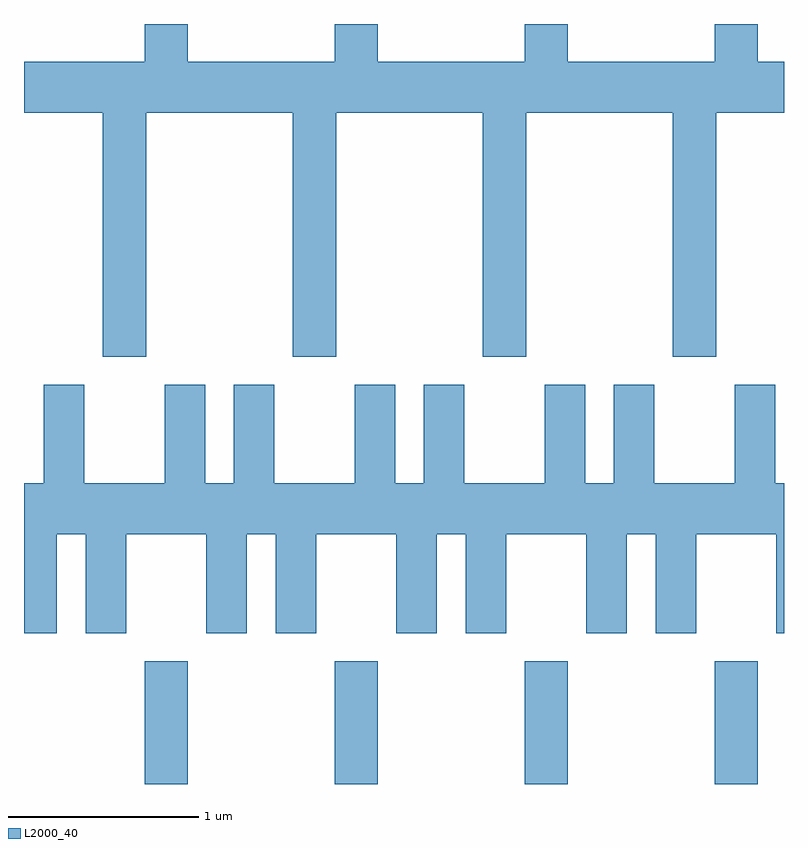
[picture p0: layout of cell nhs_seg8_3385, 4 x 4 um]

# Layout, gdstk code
import gdstk
lib = gdstk.Library(unit=1e-6, precision=1e-09)
def R(c, l, rs):  # rectangles x0, y0, x1, y1
    for r in rs: c.add(gdstk.rectangle(r[:2], r[2:], *l))
def A(c, l, x, y, w, h, nx, ny, dx, dy):  # array of equal rectangles
    R(c, l, [(x+i*dx, y+j*dy, x+i*dx+w, y+j*dy+h) for i in range(nx) for j in range(ny)])
def P(c, l, *ps):  # polygons
    for p in ps: c.add(gdstk.Polygon(p, *l))
L2000_40 = (2000, 40)

nhs_seg8_3385 = lib.new_cell('nhs_seg8_3385')
A(nhs_seg8_3385, L2000_40, 286.246, 1928.342, 0.228, 0.647, 4, 1, 1, 0)
P(nhs_seg8_3385, L2000_40, [(287.026,1930.591),(287.254,1930.591),(287.254,1931.876),(288.026,1931.876),(288.026,1930.591),(288.254,1930.591),(288.254,1931.876),(289.026,1931.876),(289.026,1930.591),(289.254,1930.591),(289.254,1931.876),(289.611,1931.876),(289.611,1932.144),(289.474,1932.144),(289.474,1932.342),(289.246,1932.342),(289.246,1932.144),(288.474,1932.144),(288.474,1932.342),(288.246,1932.342),(288.246,1932.144),(287.474,1932.144),(287.474,1932.342),(287.246,1932.342),(287.246,1932.144),(286.474,1932.144),(286.474,1932.342),(286.246,1932.342),(286.246,1932.144),(285.611,1932.144),(285.611,1931.876),(286.026,1931.876),(286.026,1930.591),(286.254,1930.591),(286.254,1931.876),(287.026,1931.876)],
  [(285.784,1929.656),(285.936,1929.656),(285.936,1929.136),(286.149,1929.136),(286.149,1929.656),(286.571,1929.656),(286.571,1929.136),(286.784,1929.136),(286.784,1929.656),(286.936,1929.656),(286.936,1929.136),(287.149,1929.136),(287.149,1929.656),(287.571,1929.656),(287.571,1929.136),(287.784,1929.136),(287.784,1929.656),(287.936,1929.656),(287.936,1929.136),(288.149,1929.136),(288.149,1929.656),(288.571,1929.656),(288.571,1929.136),(288.784,1929.136),(288.784,1929.656),(288.936,1929.656),(288.936,1929.136),(289.149,1929.136),(289.149,1929.656),(289.571,1929.656),(289.571,1929.136),(289.611,1929.136),(289.611,1929.924),(289.564,1929.924),(289.564,1930.444),(289.351,1930.444),(289.351,1929.924),(288.929,1929.924),(288.929,1930.444),(288.716,1930.444),(288.716,1929.924),(288.564,1929.924),(288.564,1930.444),(288.351,1930.444),(288.351,1929.924),(287.929,1929.924),(287.929,1930.444),(287.716,1930.444),(287.716,1929.924),(287.564,1929.924),(287.564,1930.444),(287.351,1930.444),(287.351,1929.924),(286.929,1929.924),(286.929,1930.444),(286.716,1930.444),(286.716,1929.924),(286.564,1929.924),(286.564,1930.444),(286.351,1930.444),(286.351,1929.924),(285.929,1929.924),(285.929,1930.444),(285.716,1930.444),(285.716,1929.924),(285.611,1929.924),(285.611,1929.136),(285.784,1929.136)])

lib.write_gds('nhs_seg8_3385.gds')
